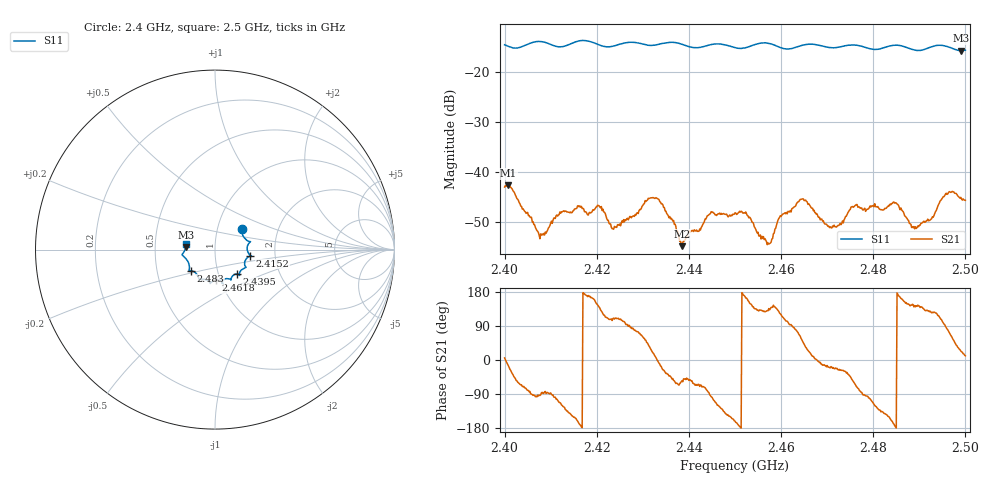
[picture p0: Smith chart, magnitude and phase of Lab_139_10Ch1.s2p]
# Hz S RI R 50
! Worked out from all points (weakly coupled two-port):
!   601 points, 2.4 GHz to 2.5 GHz, reference 50 ohm
!   highest |S21| = -42.61 dB at 2.4008 GHz (marker M1); lowest = -54.8 dB at 2.4385 GHz (marker M2)
!   lowest |S11| = -15.7 dB at 2.499 GHz (marker M3), VSWR 1.39, Z = 35.9 + j1.11 ohm
!   |S11| at or under -10 dB: start of sweep to end of sweep
!   S12 and S22 are empty: the file has one direction only
!   S11 on the Smith chart (normalised r, x): 2.4 GHz: 1.31, +0.31; 2.4152 GHz: 1.48, -0.10; 2.4395 GHz: 1.23, -0.34; 2.4618 GHz: 0.95, -0.33; 2.483 GHz: 0.74, -0.18; 2.5 GHz: 0.72, +0.05
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2.4e9  0.1498 0.1137  0.00708 0.000676  0 0  0 0
2.400833e9  0.1501 0.1014  0.00714 -0.00199  0 0  0 0
2.407833e9  0.1976 0.0441  -7.53e-05 -0.00242  0 0  0 0
2.415167e9  0.1962 -0.0329  -0.00376 -0.00208  0 0  0 0
2.416667e9  0.2038 -0.0378  -0.00455 -0.000256  0 0  0 0
2.423833e9  0.1649 -0.0803  -0.000883 0.00273  0 0  0 0
2.433333e9  0.1364 -0.1317  0.00538 -0.000443  0 0  0 0
2.4385e9  0.1313 -0.1375  0.00105 -0.00149  0 0  0 0
2.4395e9  0.1238 -0.1352  0.00151 -0.00166  0 0  0 0
2.444667e9  0.089 -0.1659  -0.000287 -0.00385  0 0  0 0
2.45e9  0.0696 -0.1618  -0.00371 -0.00126  0 0  0 0
2.457333e9  0.0441 -0.1894  -0.00137 0.00134  0 0  0 0
2.461833e9  0.00414 -0.1709  -0.000229 0.004  0 0  0 0
2.466667e9  -0.0263 -0.1889  0.00428 0.000886  0 0  0 0
2.470833e9  -0.0476 -0.169  0.00266 -0.000832  0 0  0 0
2.476e9  -0.0878 -0.1649  0.00212 -0.0041  0 0  0 0
2.483e9  -0.1356 -0.1182  -0.00368 -0.00257  0 0  0 0
2.483333e9  -0.1381 -0.118  -0.004 -0.00237  0 0  0 0
2.489e9  -0.1443 -0.0825  -0.00219 0.0016  0 0  0 0
2.496167e9  -0.1786 -0.0214  0.00108 0.00596  0 0  0 0
2.499e9  -0.1634 0.015  0.00514 0.00225  0 0  0 0
2.5e9  -0.163 0.0327  0.00514 0.000988  0 0  0 0
